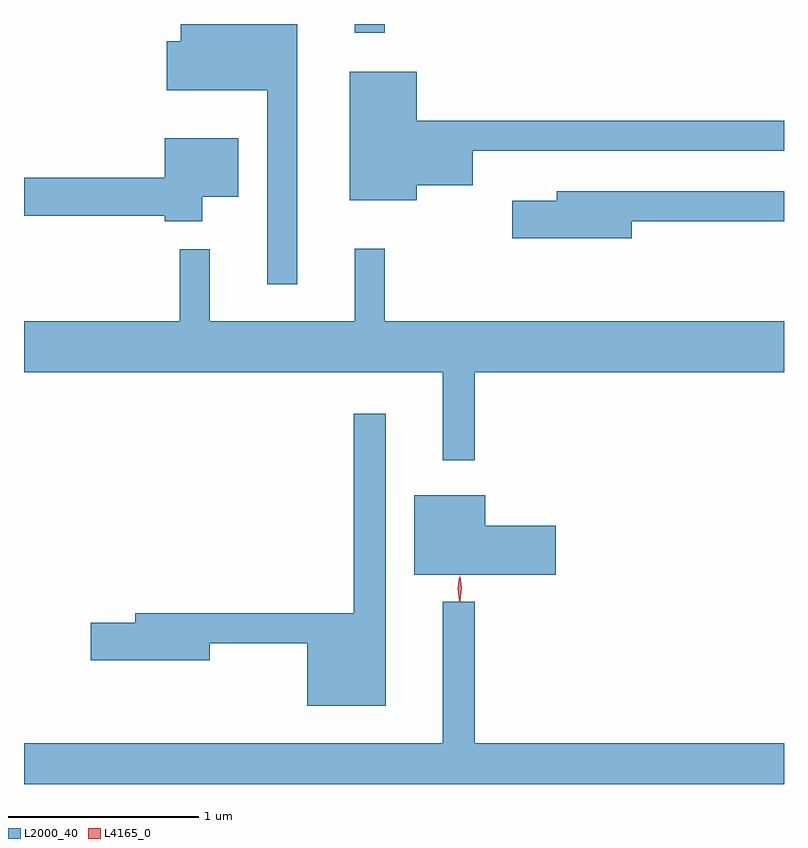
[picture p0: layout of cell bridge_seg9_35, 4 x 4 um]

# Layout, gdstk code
import gdstk
lib = gdstk.Library(unit=1e-6, precision=1e-09)
def R(c, l, rs):  # rectangles x0, y0, x1, y1
    for r in rs: c.add(gdstk.rectangle(r[:2], r[2:], *l))
def P(c, l, *ps):  # polygons
    for p in ps: c.add(gdstk.Polygon(p, *l))
L2000_40 = (2000, 40)
L4165_0 = (4165, 0)

bridge_seg9_35 = lib.new_cell('bridge_seg9_35')
R(bridge_seg9_35, L2000_40, [(1629.316,2073.523,1629.474,2073.569)])
P(bridge_seg9_35, L2000_40, [(1629.014,2073.569),(1628.401,2073.569),(1628.401,2073.479),(1628.326,2073.479),(1628.326,2073.221),(1628.856,2073.221),(1628.856,2072.198),(1629.014,2072.198)],
  [(1629.644,2072.721),(1629.939,2072.721),(1629.939,2072.901),(1631.576,2072.901),(1631.576,2073.059),(1629.644,2073.059),(1629.644,2073.319),(1629.291,2073.319),(1629.291,2072.641),(1629.644,2072.641)],
  [(1628.514,2072.661),(1628.704,2072.661),(1628.704,2072.969),(1628.316,2072.969),(1628.316,2072.759),(1627.576,2072.759),(1627.576,2072.561),(1628.316,2072.561),(1628.316,2072.531),(1628.514,2072.531)],
  [(1630.774,2072.531),(1631.576,2072.531),(1631.576,2072.689),(1630.381,2072.689),(1630.381,2072.639),(1630.146,2072.639),(1630.146,2072.441),(1630.774,2072.441)],
  [(1629.949,2071.736),(1631.576,2071.736),(1631.576,2072.004),(1629.474,2072.004),(1629.474,2072.387),(1629.316,2072.387),(1629.316,2072.004),(1628.554,2072.004),(1628.554,2072.383),(1628.396,2072.383),(1628.396,2072.004),(1627.576,2072.004),(1627.576,2071.736),(1629.781,2071.736),(1629.781,2071.273),(1629.949,2071.273)],
  [(1629.479,2071.518),(1629.311,2071.518),(1629.311,2070.469),(1628.161,2070.469),(1628.161,2070.419),(1627.926,2070.419),(1627.926,2070.221),(1628.554,2070.221),(1628.554,2070.311),(1629.066,2070.311),(1629.066,2069.981),(1629.479,2069.981)],
  [(1630.374,2070.929),(1630.004,2070.929),(1630.004,2071.089),(1629.631,2071.089),(1629.631,2070.671),(1630.374,2070.671)],
  [(1631.576,2069.784),(1629.949,2069.784),(1629.949,2070.528),(1629.781,2070.528),(1629.781,2069.784),(1627.576,2069.784),(1627.576,2069.569),(1631.576,2069.569)])
P(bridge_seg9_35, L4165_0, [(1629.867,2070.533),(1629.858,2070.596),(1629.867,2070.66),(1629.868,2070.66),(1629.868,2070.66),(1629.878,2070.596),(1629.868,2070.533),(1629.868,2070.533)],
  [(1629.87,2070.53),(1629.87,2070.53),(1629.861,2070.598),(1629.871,2070.665),(1629.872,2070.666),(1629.872,2070.665),(1629.881,2070.598),(1629.871,2070.53)])

lib.write_gds('bridge_seg9_35.gds')
